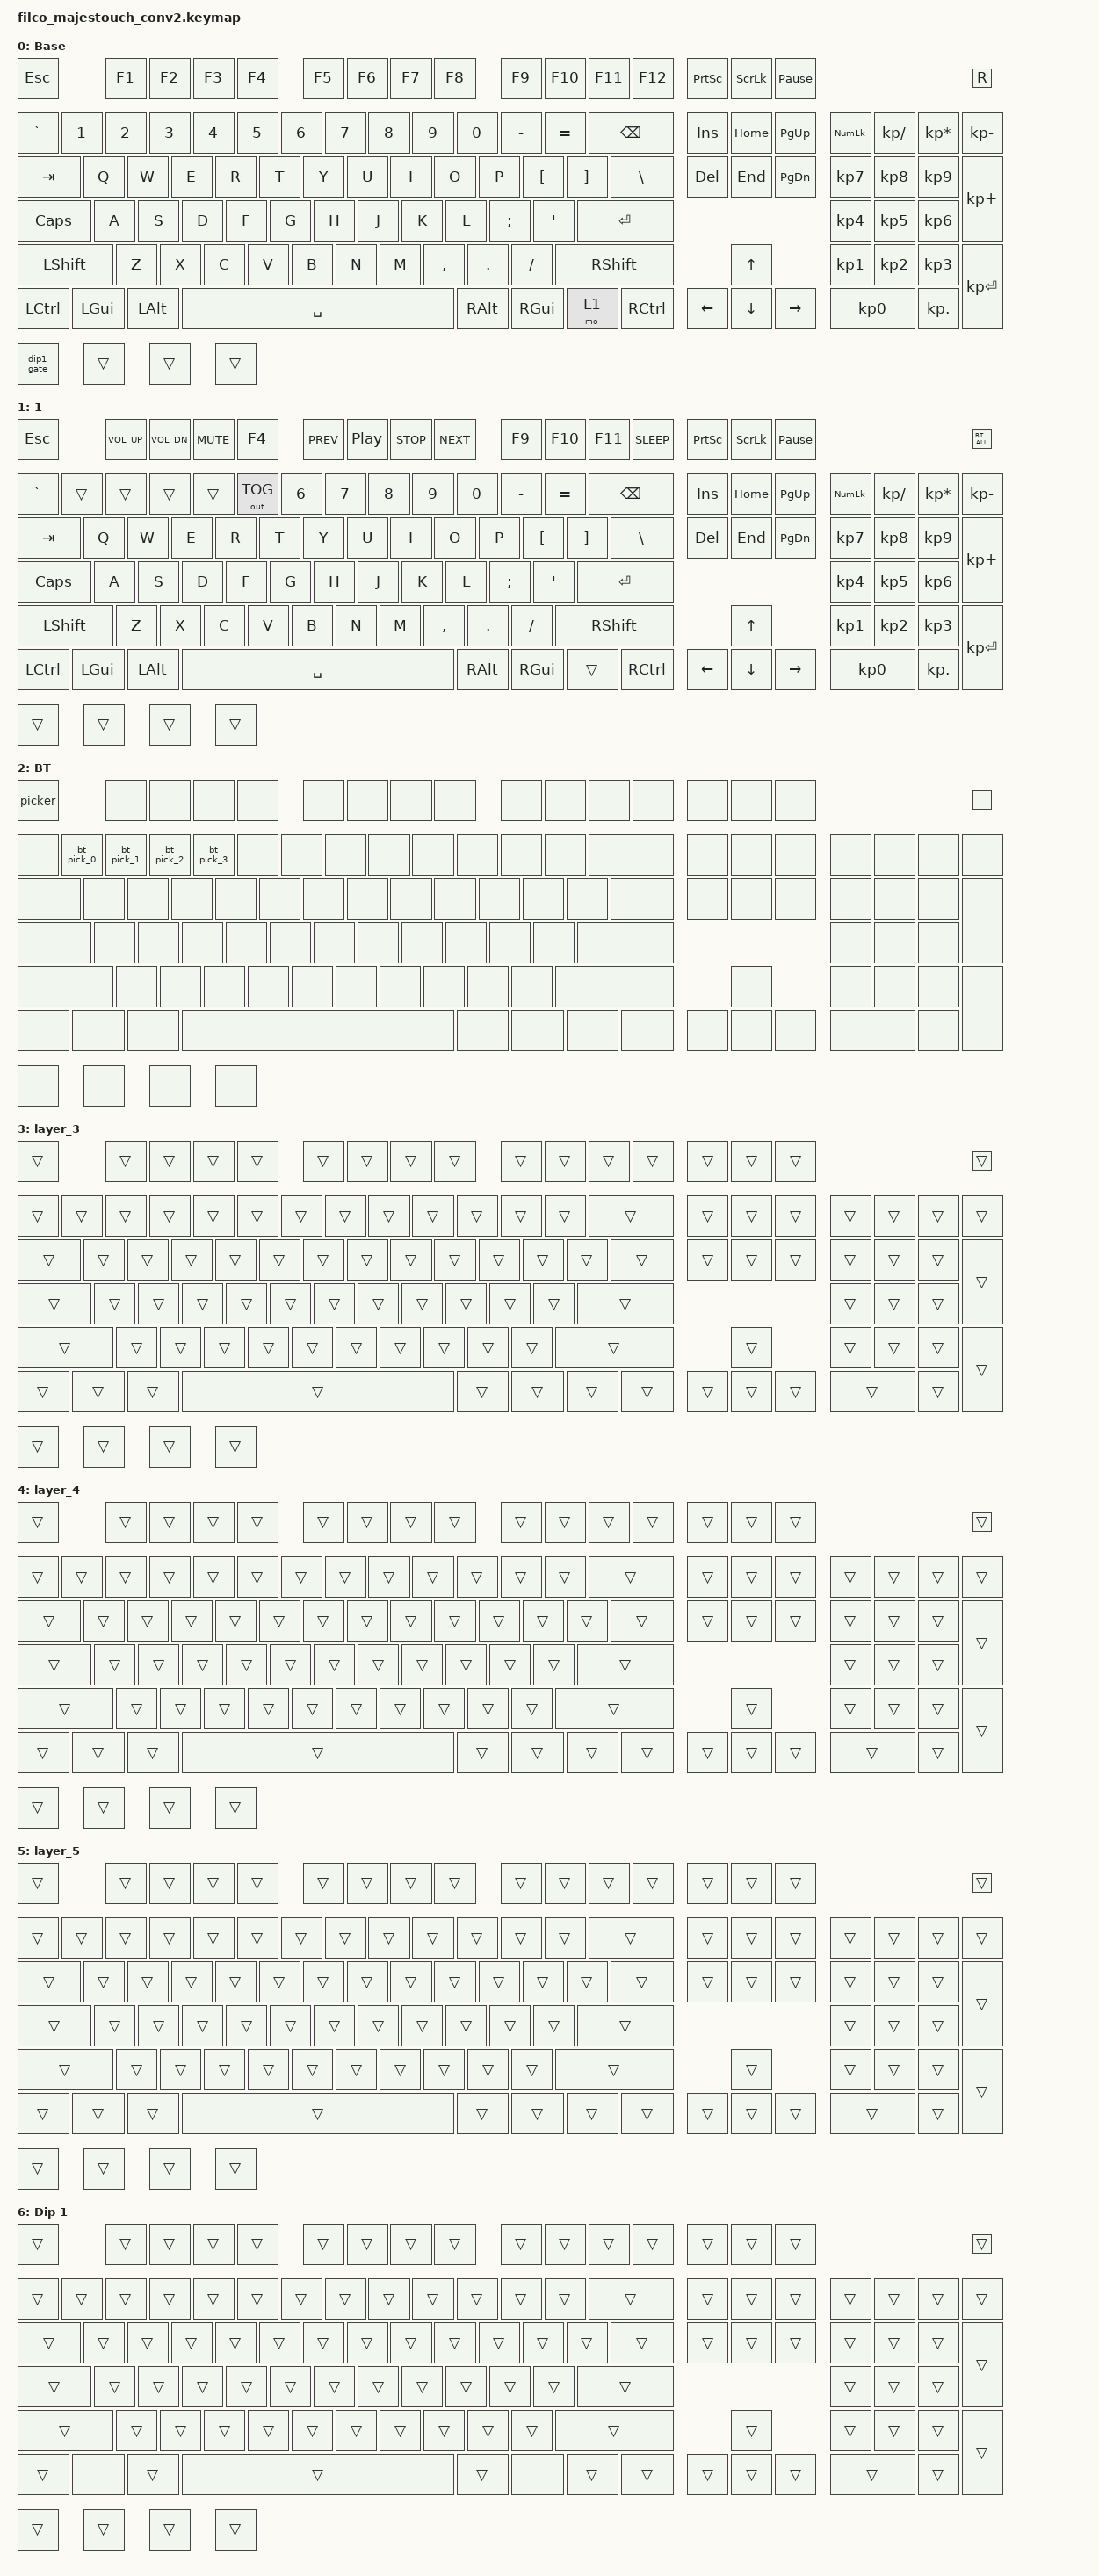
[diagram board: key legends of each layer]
/*
  * Copyright (c) 2020 The ZMK Contributors
  *
  * SPDX-License-Identifier: MIT
  */

#include <behaviors.dtsi>
#include <dt-bindings/zmk/bt.h>
#include <dt-bindings/zmk/keys.h>
#include <dt-bindings/zmk/outputs.h>

/ {
    combos {
        compatible = "zmk,combos";

        studio_unlock {
            bindings = <&studio_unlock>;
            key-positions = <91 93 98>;
            timeout-ms = <250>;
            layers = <0>;
        };

        // NOTE: the BT picker is NO LONGER a combo. The firmware
        // (indicator_leds.c) watches for Fn pressed while Ctrl+Alt are held
        // and toggles the picker itself. This keeps Ctrl/Alt out of any combo
        // -> zero added latency (Ctrl+click etc.) and no timing window. Ctrl
        // and Alt reach the host during the gesture, which is harmless.
    };

    macros {
        dip1_gate: dip1_gate {
            compatible = "zmk,behavior-macro";
            #binding-cells = <0>;
            bindings = <&togg_on 6>, <&macro_pause_for_release>, <&togg_off 6>;

            label = "DIP1_GATE";
        };

        // Pick a BT profile, then exit the picker (&picker toggles it off,
        // force-unlocking layer 2) so the connecting/advertising LEDs show.
        bt_pick_0: bt_pick_0 {
            compatible = "zmk,behavior-macro";
            #binding-cells = <0>;
            bindings = <&bt BT_SEL 0>, <&picker>;
            label = "BT_PICK_0";
        };
        bt_pick_1: bt_pick_1 {
            compatible = "zmk,behavior-macro";
            #binding-cells = <0>;
            bindings = <&bt BT_SEL 1>, <&picker>;
            label = "BT_PICK_1";
        };
        bt_pick_2: bt_pick_2 {
            compatible = "zmk,behavior-macro";
            #binding-cells = <0>;
            bindings = <&bt BT_SEL 2>, <&picker>;
            label = "BT_PICK_2";
        };
        bt_pick_3: bt_pick_3 {
            compatible = "zmk,behavior-macro";
            #binding-cells = <0>;
            bindings = <&bt BT_SEL 3>, <&picker>;
            label = "BT_PICK_3";
        };
    };

    behaviors {
        togg_on: togg_on {
            compatible = "zmk,behavior-toggle-layer";
            label = "TOGG_ON";
            #binding-cells = <1>;
        };

        togg_off: togg_off {
            compatible = "zmk,behavior-toggle-layer";
            label = "TOGG_OFF";
            #binding-cells = <1>;
            toggle-mode = "off";
        };

        // Firmware-driven BT picker toggle (see behavior_bt_picker.c +
        // indicator_leds.c). Used by the Ctrl+Alt+Fn combo, the profile macros
        // (to exit after selecting), and ESC on the picker layer (to cancel).
        picker: picker {
            compatible = "zmk,behavior-bt-picker";
            #binding-cells = <0>;
        };
    };

    keymap {
        compatible = "zmk,keymap";

        default_layer {
            display-name = "Base";
            bindings = <
&kp ESCAPE        &kp F1        &kp F2        &kp F3     &kp F4         &kp F5         &kp F6  &kp F7             &kp F8     &kp F9    &kp F10        &kp F11           &kp F12            &kp PRINTSCREEN  &kp SCROLLLOCK  &kp PAUSE_BREAK  &kp R
&kp GRAVE         &kp N1        &kp N2        &kp N3     &kp N4         &kp N5         &kp N6  &kp N7             &kp N8     &kp N9    &kp N0         &kp MINUS         &kp EQUAL          &kp BACKSPACE    &kp INSERT      &kp HOME         &kp PAGE_UP    &kp KP_NUM  &kp KP_SLASH  &kp KP_ASTERISK  &kp KP_MINUS
&kp TAB           &kp Q         &kp W         &kp E      &kp R          &kp T          &kp Y   &kp U              &kp I      &kp O     &kp P          &kp LEFT_BRACKET  &kp RIGHT_BRACKET  &kp BACKSLASH    &kp DELETE      &kp END          &kp PAGE_DOWN  &kp KP_N7   &kp KP_N8     &kp KP_N9        &kp KP_PLUS
&kp CAPS          &kp A         &kp S         &kp D      &kp F          &kp G          &kp H   &kp J              &kp K      &kp L     &kp SEMICOLON  &kp SINGLE_QUOTE  &kp ENTER          &kp KP_N4        &kp KP_N5       &kp KP_N6
&kp LEFT_SHIFT    &kp Z         &kp X         &kp C      &kp V          &kp B          &kp N   &kp M              &kp COMMA  &kp DOT   &kp SLASH      &kp RIGHT_SHIFT   &kp UP             &kp KP_N1        &kp KP_N2       &kp KP_N3        &kp KP_ENTER
&kp LEFT_CONTROL  &kp LEFT_GUI  &kp LEFT_ALT  &kp SPACE  &kp RIGHT_ALT  &kp RIGHT_GUI  &mo 1   &kp RIGHT_CONTROL  &kp LEFT   &kp DOWN  &kp RIGHT      &kp KP_N0         &kp KP_DOT
&dip1_gate            &trans        &trans        &trans
            >;
        };

        layer_1 {
            display-name = "1";
            bindings = <
&kp ESCAPE        &kp C_VOL_UP  &kp C_VOL_DN  &kp C_MUTE    &kp F4         &kp C_PREV     &kp C_PP      &kp C_STOP         &kp C_NEXT &kp F9    &kp F10        &kp F11           &kp C_SLEEP        &kp PRINTSCREEN  &kp SCROLLLOCK  &kp PAUSE_BREAK  &bt BT_CLR_ALL
&kp GRAVE         &trans        &trans        &trans        &trans         &out OUT_TOG   &kp N6        &kp N7             &kp N8     &kp N9    &kp N0         &kp MINUS         &kp EQUAL          &kp BACKSPACE    &kp INSERT      &kp HOME         &kp PAGE_UP    &kp KP_NUM  &kp KP_SLASH  &kp KP_ASTERISK  &kp KP_MINUS
&kp TAB           &kp Q         &kp W         &kp E         &kp R          &kp T          &kp Y         &kp U              &kp I      &kp O     &kp P          &kp LEFT_BRACKET  &kp RIGHT_BRACKET  &kp BACKSLASH    &kp DELETE      &kp END          &kp PAGE_DOWN  &kp KP_N7   &kp KP_N8     &kp KP_N9        &kp KP_PLUS
&kp CAPS          &kp A         &kp S         &kp D         &kp F          &kp G          &kp H         &kp J              &kp K      &kp L     &kp SEMICOLON  &kp SINGLE_QUOTE  &kp ENTER          &kp KP_N4        &kp KP_N5       &kp KP_N6
&kp LEFT_SHIFT    &kp Z         &kp X         &kp C         &kp V          &kp B          &kp N         &kp M              &kp COMMA  &kp DOT   &kp SLASH      &kp RIGHT_SHIFT   &kp UP             &kp KP_N1        &kp KP_N2       &kp KP_N3        &kp KP_ENTER
&kp LEFT_CONTROL  &kp LEFT_GUI  &kp LEFT_ALT  &kp SPACE     &kp RIGHT_ALT  &kp RIGHT_GUI  &trans        &kp RIGHT_CONTROL  &kp LEFT   &kp DOWN  &kp RIGHT      &kp KP_N0         &kp KP_DOT
&trans            &trans        &trans        &trans
            >;
        };

        bt_picker_layer {
            display-name = "BT";
            bindings = <
&picker  &none       &none       &none       &none       &none  &none  &none  &none  &none  &none  &none  &none  &none  &none  &none  &none
&none   &bt_pick_0  &bt_pick_1  &bt_pick_2  &bt_pick_3  &none  &none  &none  &none  &none  &none  &none  &none  &none  &none  &none  &none  &none  &none  &none  &none
&none  &none  &none  &none  &none  &none  &none  &none  &none  &none  &none  &none  &none  &none  &none  &none  &none  &none  &none  &none  &none
&none  &none  &none  &none  &none  &none  &none  &none  &none  &none  &none  &none  &none  &none  &none  &none
&none  &none  &none  &none  &none  &none  &none  &none  &none  &none  &none  &none  &none  &none  &none  &none  &none
&none  &none  &none  &none  &none  &none  &none  &none  &none  &none  &none  &none  &none
&none  &none  &none  &none
            >;
        };

        layer_3 {
            bindings = <
&trans  &trans  &trans  &trans  &trans  &trans  &trans  &trans  &trans  &trans  &trans  &trans  &trans  &trans  &trans  &trans  &trans
&trans  &trans  &trans  &trans  &trans  &trans  &trans  &trans  &trans  &trans  &trans  &trans  &trans  &trans  &trans  &trans  &trans  &trans  &trans  &trans  &trans
&trans  &trans  &trans  &trans  &trans  &trans  &trans  &trans  &trans  &trans  &trans  &trans  &trans  &trans  &trans  &trans  &trans  &trans  &trans  &trans  &trans
&trans  &trans  &trans  &trans  &trans  &trans  &trans  &trans  &trans  &trans  &trans  &trans  &trans  &trans  &trans  &trans
&trans  &trans  &trans  &trans  &trans  &trans  &trans  &trans  &trans  &trans  &trans  &trans  &trans  &trans  &trans  &trans  &trans
&trans  &trans  &trans  &trans  &trans  &trans  &trans  &trans  &trans  &trans  &trans  &trans  &trans
&trans  &trans  &trans  &trans
            >;
        };

        layer_4 {
            bindings = <
&trans  &trans  &trans  &trans  &trans  &trans  &trans  &trans  &trans  &trans  &trans  &trans  &trans  &trans  &trans  &trans  &trans
&trans  &trans  &trans  &trans  &trans  &trans  &trans  &trans  &trans  &trans  &trans  &trans  &trans  &trans  &trans  &trans  &trans  &trans  &trans  &trans  &trans
&trans  &trans  &trans  &trans  &trans  &trans  &trans  &trans  &trans  &trans  &trans  &trans  &trans  &trans  &trans  &trans  &trans  &trans  &trans  &trans  &trans
&trans  &trans  &trans  &trans  &trans  &trans  &trans  &trans  &trans  &trans  &trans  &trans  &trans  &trans  &trans  &trans
&trans  &trans  &trans  &trans  &trans  &trans  &trans  &trans  &trans  &trans  &trans  &trans  &trans  &trans  &trans  &trans  &trans
&trans  &trans  &trans  &trans  &trans  &trans  &trans  &trans  &trans  &trans  &trans  &trans  &trans
&trans  &trans  &trans  &trans
            >;
        };

        layer_5 {
            bindings = <
&trans  &trans  &trans  &trans  &trans  &trans  &trans  &trans  &trans  &trans  &trans  &trans  &trans  &trans  &trans  &trans  &trans
&trans  &trans  &trans  &trans  &trans  &trans  &trans  &trans  &trans  &trans  &trans  &trans  &trans  &trans  &trans  &trans  &trans  &trans  &trans  &trans  &trans
&trans  &trans  &trans  &trans  &trans  &trans  &trans  &trans  &trans  &trans  &trans  &trans  &trans  &trans  &trans  &trans  &trans  &trans  &trans  &trans  &trans
&trans  &trans  &trans  &trans  &trans  &trans  &trans  &trans  &trans  &trans  &trans  &trans  &trans  &trans  &trans  &trans
&trans  &trans  &trans  &trans  &trans  &trans  &trans  &trans  &trans  &trans  &trans  &trans  &trans  &trans  &trans  &trans  &trans
&trans  &trans  &trans  &trans  &trans  &trans  &trans  &trans  &trans  &trans  &trans  &trans  &trans
&trans  &trans  &trans  &trans
            >;
        };

        Dip_1 {
            bindings = <
&trans  &trans  &trans  &trans  &trans  &trans  &trans  &trans  &trans  &trans  &trans  &trans  &trans  &trans  &trans  &trans  &trans
&trans  &trans  &trans  &trans  &trans  &trans  &trans  &trans  &trans  &trans  &trans  &trans  &trans  &trans  &trans  &trans  &trans  &trans  &trans  &trans  &trans
&trans  &trans  &trans  &trans  &trans  &trans  &trans  &trans  &trans  &trans  &trans  &trans  &trans  &trans  &trans  &trans  &trans  &trans  &trans  &trans  &trans
&trans  &trans  &trans  &trans  &trans  &trans  &trans  &trans  &trans  &trans  &trans  &trans  &trans  &trans  &trans  &trans
&trans  &trans  &trans  &trans  &trans  &trans  &trans  &trans  &trans  &trans  &trans  &trans  &trans  &trans  &trans  &trans  &trans
&trans  &none   &trans  &trans  &trans  &none   &trans  &trans  &trans  &trans  &trans  &trans  &trans
&trans  &trans  &trans  &trans
            >;

            label = "Dip 1";
        };
    };
};
